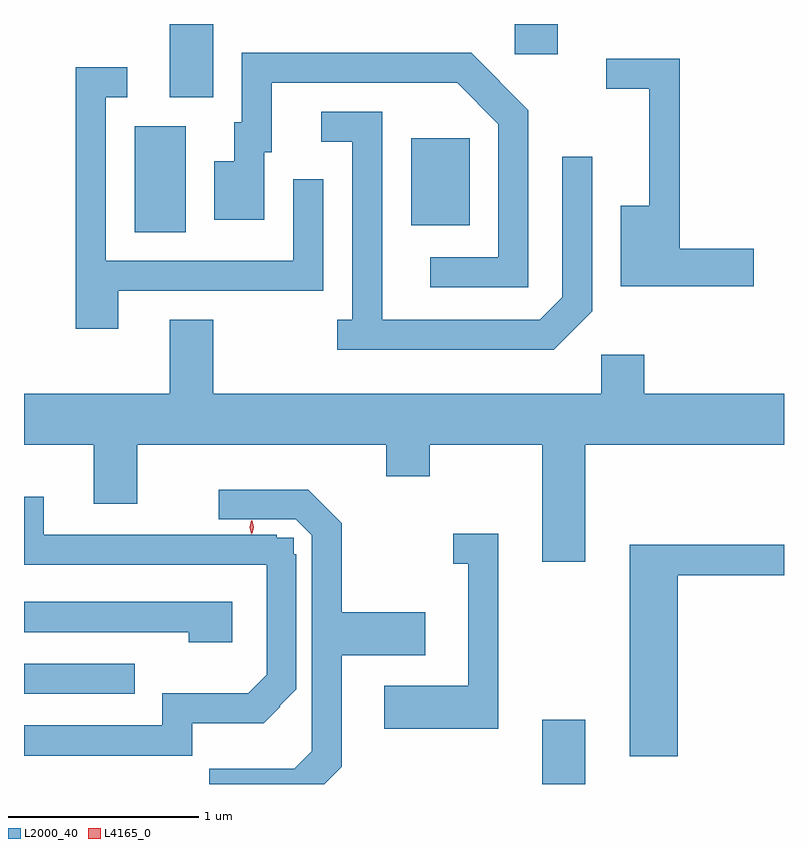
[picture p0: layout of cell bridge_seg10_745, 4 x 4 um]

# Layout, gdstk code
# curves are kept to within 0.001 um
import gdstk
lib = gdstk.Library(unit=1e-6, precision=1e-09)
def R(c, l, rs):  # rectangles x0, y0, x1, y1
    for r in rs: c.add(gdstk.rectangle(r[:2], r[2:], *l))
def P(c, l, *ps):  # polygons
    for p in ps: c.add(gdstk.Polygon(p, *l))
L2000_40 = (2000, 40)
L4165_0 = (4165, 0)

bridge_seg10_745 = lib.new_cell('bridge_seg10_745')
R(bridge_seg10_745, L2000_40, [(604.391,2192.051,604.619,2192.389), (601.664,2192.526,602.248,2192.684), (602.246,2194.956,602.514,2195.514), (603.701,2194.991,604.009,2195.449), (602.431,2195.666,602.659,2196.051), (604.246,2195.891,604.474,2196.051)])
P(bridge_seg10_745, L2000_40, [(604.319,2195.597),(604.017,2195.899),(602.811,2195.899),(602.811,2195.534),(602.771,2195.534),(602.771,2195.329),(602.666,2195.329),(602.666,2195.021),(602.929,2195.021),(602.929,2195.376),(602.969,2195.376),(602.969,2195.741),(603.944,2195.741),(604.161,2195.524),(604.161,2194.824),(603.803,2194.824),(603.803,2194.666),(604.319,2194.666)],
  [(605.504,2194.869),(605.114,2194.869),(605.114,2195.869),(604.728,2195.869),(604.728,2195.711),(604.956,2195.711),(604.956,2195.094),(604.806,2195.094),(604.806,2194.671),(605.504,2194.671)],
  [(602.159,2194.646),(603.239,2194.646),(603.239,2195.233),(603.081,2195.233),(603.081,2194.804),(602.094,2194.804),(602.094,2195.666),(602.208,2195.666),(602.208,2195.824),(601.936,2195.824),(601.936,2194.446),(602.159,2194.446)],
  [(604.654,2194.539),(604.654,2195.353),(604.496,2195.353),(604.496,2194.612),(604.379,2194.494),(603.549,2194.494),(603.549,2195.589),(603.228,2195.589),(603.228,2195.431),(603.391,2195.431),(603.391,2194.494),(603.313,2194.494),(603.313,2194.336),(604.452,2194.336)],
  [(604.619,2193.836),(605.664,2193.836),(605.664,2194.104),(604.929,2194.104),(604.929,2194.309),(604.701,2194.309),(604.701,2194.104),(602.659,2194.104),(602.659,2194.494),(602.431,2194.494),(602.431,2194.104),(601.664,2194.104),(601.664,2193.836),(602.031,2193.836),(602.031,2193.526),(602.259,2193.526),(602.259,2193.836),(603.571,2193.836),(603.571,2193.671),(603.799,2193.671),(603.799,2193.836),(604.391,2193.836),(604.391,2193.221),(604.619,2193.221)],
  [(603.252,2192.058),(603.336,2192.141),(603.336,2192.728),(603.776,2192.728),(603.776,2192.956),(603.336,2192.956),(603.336,2193.424),(603.159,2193.601),(602.69,2193.601),(602.69,2193.444),(603.095,2193.444),(603.179,2193.36),(603.178,2192.224),(603.086,2192.131),(602.64,2192.131),(602.64,2192.051),(603.245,2192.051)],
  [(602.549,2192.371),(602.927,2192.371),(603.013,2192.457),(603.009,2192.462),(603.098,2192.551),(603.098,2193.26),(603.083,2193.26),(603.083,2193.348),(602.995,2193.348),(602.995,2193.363),(601.769,2193.364),(601.769,2193.563),(601.664,2193.563),(601.664,2193.206),(602.941,2193.206),(602.941,2192.627),(602.844,2192.529),(602.391,2192.529),(602.391,2192.359),(601.664,2192.359),(601.664,2192.201),(602.549,2192.201)],
  [(604.159,2193.369),(603.923,2193.369),(603.923,2193.211),(604.001,2193.211),(604.001,2192.569),(603.561,2192.569),(603.561,2192.341),(604.159,2192.341)],
  [(605.104,2193.151),(605.664,2193.151),(605.664,2193.309),(604.851,2193.309),(604.851,2192.196),(605.104,2192.196)],
  [(602.759,2193.009),(601.664,2193.009),(601.664,2192.851),(602.531,2192.851),(602.531,2192.796),(602.759,2192.796)])
P(bridge_seg10_745, L4165_0, [(602.861,2193.366),(602.86,2193.367),(602.851,2193.403),(602.86,2193.44),(602.861,2193.44),(602.861,2193.44),(602.871,2193.403),(602.861,2193.367)],
  [(602.864,2193.368),(602.864,2193.369),(602.854,2193.403),(602.864,2193.438),(602.864,2193.438),(602.864,2193.438),(602.874,2193.403),(602.864,2193.369)])

lib.write_gds('bridge_seg10_745.gds')
